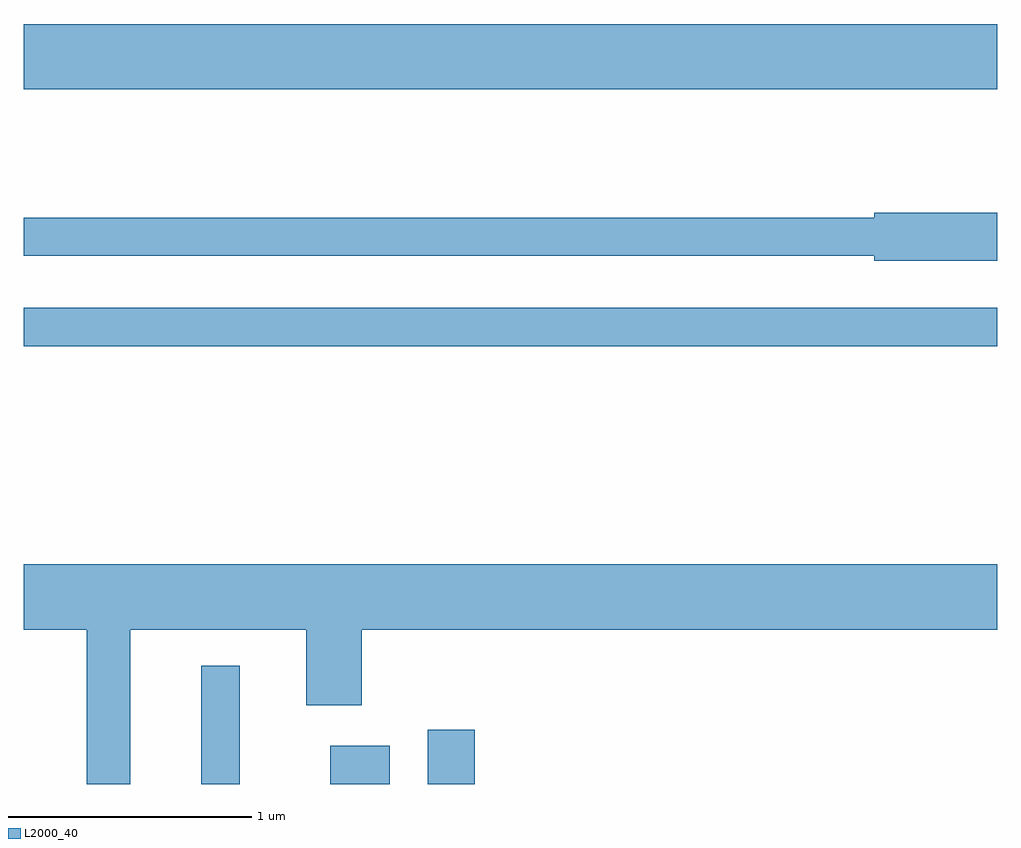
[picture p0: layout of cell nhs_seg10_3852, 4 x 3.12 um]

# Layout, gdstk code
import gdstk
lib = gdstk.Library(unit=1e-6, precision=1e-09)
def R(c, l, rs):  # rectangles x0, y0, x1, y1
    for r in rs: c.add(gdstk.rectangle(r[:2], r[2:], *l))
def P(c, l, *ps):  # polygons
    for p in ps: c.add(gdstk.Polygon(p, *l))
L2000_40 = (2000, 40)

nhs_seg10_3852 = lib.new_cell('nhs_seg10_3852')
R(nhs_seg10_3852, L2000_40, [(298.341,2206.522,298.499,2207.008), (298.871,2206.522,299.114,2206.679), (299.271,2206.522,299.464,2206.744), (297.611,2208.321,301.611,2208.479), (297.611,2209.376,301.611,2209.644)])
P(nhs_seg10_3852, L2000_40, [(301.611,2208.869),(301.106,2208.869),(301.106,2208.849),(297.611,2208.849),(297.611,2208.691),(301.106,2208.691),(301.106,2208.671),(301.611,2208.671)],
  [(298.049,2207.156),(298.771,2207.156),(298.771,2206.846),(298.999,2206.846),(298.999,2207.156),(301.611,2207.156),(301.611,2207.424),(297.611,2207.424),(297.611,2207.156),(297.871,2207.156),(297.871,2206.522),(298.049,2206.522)])

lib.write_gds('nhs_seg10_3852.gds')
